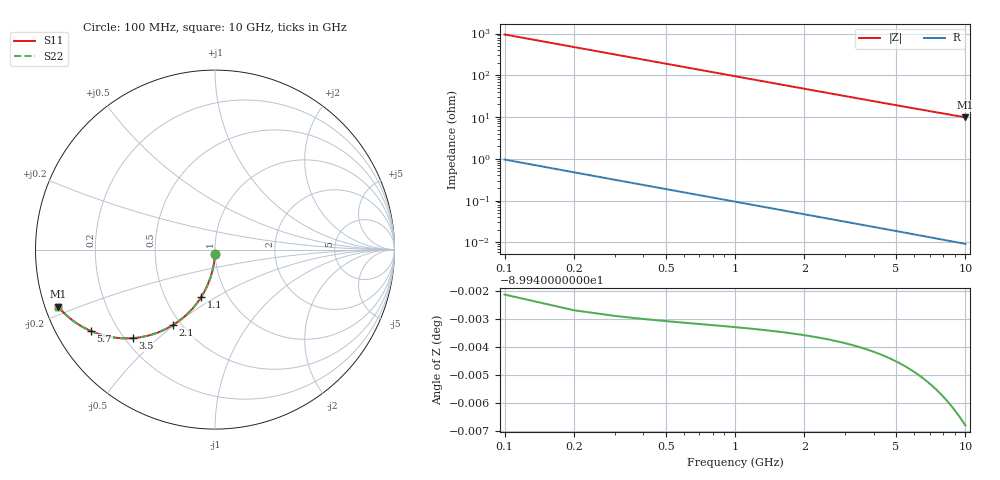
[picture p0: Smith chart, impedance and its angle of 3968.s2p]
# Hz S RI R 50.00
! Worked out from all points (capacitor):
!   100 points, 100 MHz to 10 GHz, reference 50 ohm
!   read as one part in shunt: C = 1.68 pF near 100 MHz
!   lowest |Z| = 9.84 ohm at 10 GHz (marker M1)
!   S11 on the Smith chart (normalised r, x): 100 MHz: 1.00, -0.05; 1.1 GHz: 0.75, -0.43; 2.1 GHz: 0.45, -0.49; 3.5 GHz: 0.23, -0.42; 5.7 GHz: 0.10, -0.30; 10 GHz: 0.04, -0.18
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1e8  -0.000701 -0.0262  0.9993 -0.0265  0.9993 -0.0265  -0.000701 -0.0262
2e8  -0.00281 -0.0523  0.9972 -0.0528  0.9972 -0.0528  -0.00281 -0.0523
3e8  -0.00628 -0.0782  0.9937 -0.079  0.9937 -0.079  -0.00628 -0.0782
4e8  -0.0111 -0.1038  0.9889 -0.1048  0.9889 -0.1048  -0.0111 -0.1038
5e8  -0.0172 -0.1289  0.9828 -0.1302  0.9828 -0.1302  -0.0172 -0.1289
6e8  -0.0245 -0.1535  0.9754 -0.155  0.9754 -0.155  -0.0245 -0.1535
7e8  -0.0331 -0.1775  0.9669 -0.1793  0.9669 -0.1793  -0.0331 -0.1775
9e8  -0.0534 -0.2233  0.9465 -0.2256  0.9465 -0.2256  -0.0534 -0.2233
1.1e9  -0.0777 -0.2658  0.9222 -0.2687  0.9222 -0.2687  -0.0777 -0.2658
1.4e9  -0.1199 -0.3226  0.88 -0.3262  0.88 -0.3262  -0.1199 -0.3226
1.8e9  -0.1836 -0.3844  0.8163 -0.3891  0.8163 -0.3891  -0.1836 -0.3844
2.1e9  -0.2342 -0.4203  0.7657 -0.4258  0.7657 -0.4258  -0.2342 -0.4203
2.7e9  -0.3354 -0.4681  0.6645 -0.4752  0.6645 -0.4752  -0.3354 -0.4681
3.4e9  -0.4441 -0.4919  0.5558 -0.5009  0.5558 -0.5009  -0.4441 -0.4919
3.5e9  -0.4584 -0.4931  0.5415 -0.5024  0.5415 -0.5024  -0.4584 -0.4931
4.3e9  -0.5605 -0.4901  0.4393 -0.5015  0.4393 -0.5015  -0.5605 -0.4901
5.1e9  -0.6419 -0.4721  0.358 -0.4857  0.358 -0.4857  -0.6419 -0.4721
5.7e9  -0.6911 -0.4538  0.3087 -0.4691  0.3087 -0.4691  -0.6911 -0.4538
6.7e9  -0.7555 -0.4202  0.2443 -0.4382  0.2443 -0.4382  -0.7555 -0.4202
7.5e9  -0.7948 -0.3931  0.2049 -0.4134  0.2049 -0.4134  -0.7948 -0.3931
8.4e9  -0.8294 -0.3641  0.1703 -0.387  0.1703 -0.387  -0.8294 -0.3641
1e10  -0.8735 -0.3179  0.1261 -0.3454  0.1261 -0.3454  -0.8735 -0.3179
